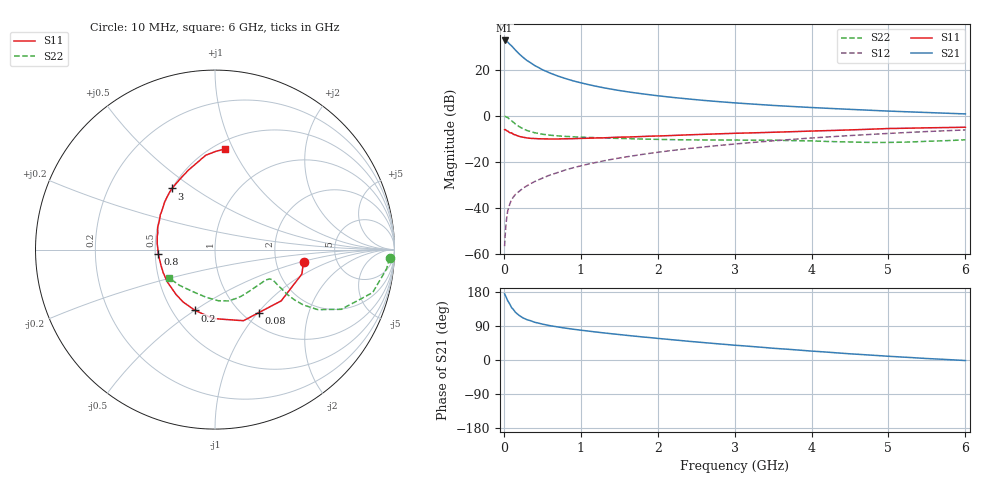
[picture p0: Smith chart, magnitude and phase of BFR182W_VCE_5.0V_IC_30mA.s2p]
! Infineon Technologies  Discrete & RF Semiconductors
! BFR182W
! VCE =  5.0 V,  IC =  30 mA
! Common Emitter S-Parameters:  Jan 2017
# GHz  S  MA  R  50
!  f  S11  S21  S12  S22
! GHz  MAG  ANG  MAG  ANG  MAG  ANG  MAG  ANG
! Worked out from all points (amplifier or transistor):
!   77 points, 10 MHz to 6 GHz, reference 50 ohm
!   highest |S21| = 32.6 dB at 10 MHz (marker M1)
!   |S21| within 3 dB of that: start of sweep to 118.6 MHz
!   unconditionally stable (mu >= 1): 653 MHz to 2.241 GHz
!   at 130 MHz: K = 0.50, MSG = 32.1 dB, |S12| = -34.9 dB
!   at 2.2 GHz: K = 1.00, MAG = 11.1 dB, |S12| = -15.0 dB
!   at 6 GHz: K = 0.86, MSG = 3.5 dB, |S12| = -6.1 dB
!   S11 on the Smith chart (normalised r, x): 10 MHz: 2.88, -0.51; 80 MHz: 1.17, -1.01; 200 MHz: 0.65, -0.50; 800 MHz: 0.52, -0.03; 3 GHz: 0.50, +0.41; 6 GHz: 0.57, +0.93
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0.01  0.4979 -7.7  42.59 174.6  0.0015 86.0  0.9745 -2.8
0.02  0.5028 -15.7  42.52 170.1  0.003 90.5  0.9625 -6.3
0.05  0.4667 -37.7  39.36 156.4  0.0086 76.9  0.9108 -15.2
0.08  0.4274 -55.4  34.88 146.4  0.0125 71.3  0.8282 -20.9
0.1  0.4266 -68.2  32.61 138.4  0.0152 69.2  0.7784 -25.3
0.15  0.3844 -91.4  26.42 126.0  0.0197 64.8  0.6628 -30.3
0.2  0.3567 -108.1  21.71 117.5  0.0231 66.0  0.5798 -32.1
0.25  0.3418 -121.3  18.32 111.0  0.027 65.1  0.5221 -32.3
0.3  0.3311 -130.9  15.7 106.5  0.0304 66.3  0.4792 -31.9
0.4  0.3209 -145.5  12.23 99.6  0.0375 68.7  0.4282 -30.4
0.5  0.316 -155.9  9.944 94.7  0.0444 69.4  0.398 -29.3
0.6  0.3135 -163.7  8.394 90.6  0.052 71.0  0.3792 -28.4
0.8  0.3167 -175.9  6.389 84.1  0.0671 72.5  0.3569 -27.8
0.9  0.3184 179.1  5.694 81.3  0.0746 72.2  0.3498 -28.1
1.1  0.3257 171.1  4.716 76.3  0.09 72.7  0.3396 -29.2
1.5  0.3434 157.9  3.516 67.2  0.1214 71.1  0.3226 -33.7
2.1  0.3685 143.0  2.594 55.2  0.1697 68.1  0.3053 -44.4
3  0.4166 125.2  1.898 39.0  0.2438 61.4  0.2976 -64.7
3.1  0.4202 123.4  1.85 37.6  0.2522 60.5  0.2964 -66.8
4.1  0.4707 107.4  1.477 22.2  0.3378 51.7  0.2812 -89.0
5.1  0.5315 94.4  1.242 8.7  0.4217 41.8  0.2657 -120.9
6  0.5636 84.3  1.094 -1.4  0.4928 32.4  0.3011 -148.3
